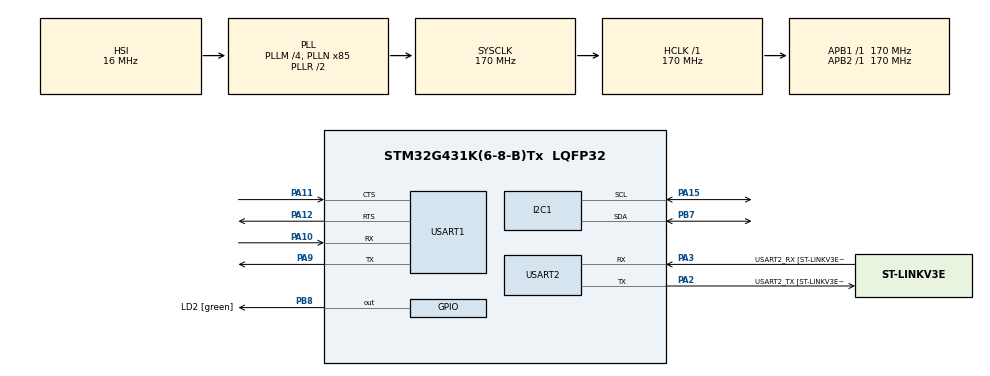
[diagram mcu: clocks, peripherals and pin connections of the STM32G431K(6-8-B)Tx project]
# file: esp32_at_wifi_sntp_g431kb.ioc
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Dma.Request0=USART1_TX
Dma.Request1=USART1_RX
Dma.Request2=USART2_TX
Dma.USART1_RX.1.Direction=DMA_PERIPH_TO_MEMORY
Dma.USART1_RX.1.EventEnable=DISABLE
Dma.USART1_RX.1.Instance=DMA1_Channel2
Dma.USART1_RX.1.MemDataAlignment=DMA_MDATAALIGN_BYTE
Dma.USART1_RX.1.MemInc=DMA_MINC_ENABLE
Dma.USART1_RX.1.Mode=DMA_NORMAL
Dma.USART1_RX.1.PeriphDataAlignment=DMA_PDATAALIGN_BYTE
Dma.USART1_RX.1.PeriphInc=DMA_PINC_DISABLE
Dma.USART1_RX.1.Polarity=HAL_DMAMUX_REQ_GEN_RISING
Dma.USART1_RX.1.Priority=DMA_PRIORITY_HIGH
Dma.USART1_RX.1.RequestNumber=1
Dma.USART1_RX.1.SignalID=NONE
Dma.USART1_RX.1.SyncEnable=DISABLE
Dma.USART1_RX.1.SyncPolarity=HAL_DMAMUX_SYNC_NO_EVENT
Dma.USART1_RX.1.SyncRequestNumber=1
Dma.USART1_RX.1.SyncSignalID=NONE
Dma.USART1_TX.0.Direction=DMA_MEMORY_TO_PERIPH
Dma.USART1_TX.0.EventEnable=DISABLE
Dma.USART1_TX.0.Instance=DMA1_Channel1
Dma.USART1_TX.0.MemDataAlignment=DMA_MDATAALIGN_BYTE
Dma.USART1_TX.0.MemInc=DMA_MINC_ENABLE
Dma.USART1_TX.0.Mode=DMA_NORMAL
Dma.USART1_TX.0.PeriphDataAlignment=DMA_PDATAALIGN_BYTE
Dma.USART1_TX.0.PeriphInc=DMA_PINC_DISABLE
Dma.USART1_TX.0.Polarity=HAL_DMAMUX_REQ_GEN_RISING
Dma.USART1_TX.0.Priority=DMA_PRIORITY_HIGH
Dma.USART1_TX.0.RequestNumber=1
Dma.USART1_TX.0.SignalID=NONE
Dma.USART1_TX.0.SyncEnable=DISABLE
Dma.USART1_TX.0.SyncPolarity=HAL_DMAMUX_SYNC_NO_EVENT
Dma.USART1_TX.0.SyncRequestNumber=1
Dma.USART1_TX.0.SyncSignalID=NONE
Dma.USART2_TX.2.Direction=DMA_MEMORY_TO_PERIPH
Dma.USART2_TX.2.EventEnable=DISABLE
Dma.USART2_TX.2.Instance=DMA1_Channel3
Dma.USART2_TX.2.MemDataAlignment=DMA_MDATAALIGN_BYTE
Dma.USART2_TX.2.MemInc=DMA_MINC_ENABLE
Dma.USART2_TX.2.Mode=DMA_NORMAL
Dma.USART2_TX.2.PeriphDataAlignment=DMA_PDATAALIGN_BYTE
Dma.USART2_TX.2.PeriphInc=DMA_PINC_DISABLE
Dma.USART2_TX.2.Polarity=HAL_DMAMUX_REQ_GEN_RISING
Dma.USART2_TX.2.Priority=DMA_PRIORITY_LOW
Dma.USART2_TX.2.RequestNumber=1
Dma.USART2_TX.2.SignalID=NONE
Dma.USART2_TX.2.SyncEnable=DISABLE
Dma.USART2_TX.2.SyncPolarity=HAL_DMAMUX_SYNC_NO_EVENT
Dma.USART2_TX.2.SyncRequestNumber=1
Dma.USART2_TX.2.SyncSignalID=NONE
I2C1.Timing=0x40B285C2
Mcu.Family=STM32G4
Mcu.Name=STM32G431K(6-8-B)Tx
Mcu.Package=LQFP32
NVIC.DMA1_Channel1_IRQn=true\:0\:0\:false\:false\:true\:false\:true\:true
NVIC.DMA1_Channel2_IRQn=true\:0\:0\:false\:false\:true\:false\:true\:true
NVIC.DMA1_Channel3_IRQn=true\:0\:0\:false\:false\:true\:false\:true\:true
NVIC.PriorityGroup=NVIC_PRIORITYGROUP_4
NVIC.TIM1_TRG_COM_TIM17_IRQn=true\:0\:0\:false\:false\:true\:true\:true\:true
NVIC.USART1_IRQn=true\:0\:0\:false\:false\:true\:true\:true\:true
NVIC.USART2_IRQn=true\:0\:0\:false\:false\:true\:true\:true\:true
PA10.GPIO_PuPd=GPIO_PULLUP
PA10.Mode=Asynchronous
PA10.Signal=USART1_RX
PA11.GPIO_PuPd=GPIO_PULLUP
PA11.Mode=CTS_RTS
PA11.Signal=USART1_CTS
PA12.GPIO_PuPd=GPIO_PULLUP
PA12.Mode=CTS_RTS
PA12.Signal=USART1_RTS
PA13.GPIO_Label=T_SWDIO
PA13.Mode=Serial_Wire
PA13.Signal=SYS_JTMS-SWDIO
PA14.GPIO_Label=T_SWCLK
PA14.Mode=Serial_Wire
PA14.Signal=SYS_JTCK-SWCLK
PA15.Mode=I2C
PA15.Signal=I2C1_SCL
PA2.GPIO_Label=USART2_TX [ST-LINKV3E_VCP_RX]
PA2.Mode=Asynchronous
PA2.Signal=USART2_TX
PA3.GPIO_Label=USART2_RX [ST-LINKV3E_VCP_TX]
PA3.Mode=Asynchronous
PA3.Signal=USART2_RX
PA9.GPIO_PuPd=GPIO_PULLUP
PA9.Mode=Asynchronous
PA9.Signal=USART1_TX
PB3.GPIO_Label=T_SWO
PB3.Signal=SYS_JTDO-SWO
PB7.Mode=I2C
PB7.Signal=I2C1_SDA
PB8-BOOT0.GPIO_Label=LD2 [green]
PB8-BOOT0.Signal=GPIO_Output
ProjectManager.HeapSize=0x200
ProjectManager.StackSize=0x400
ProjectManager.TargetToolchain=STM32CubeIDE
RCC.ADC12Freq_Value=170000000
RCC.AHBFreq_Value=170000000
RCC.APB1Freq_Value=170000000
RCC.APB1TimFreq_Value=170000000
RCC.APB2Freq_Value=170000000
RCC.APB2TimFreq_Value=170000000
RCC.CortexFreq_Value=170000000
RCC.EXTERNAL_CLOCK_VALUE=12288000
RCC.HCLKFreq_Value=170000000
RCC.HSE_VALUE=8000000
RCC.HSI48_VALUE=48000000
RCC.HSI_VALUE=16000000
RCC.LSE_VALUE=32768
RCC.PLLM=RCC_PLLM_DIV4
RCC.PLLN=85
RCC.SYSCLKFreq_VALUE=170000000
RCC.SYSCLKSource=RCC_SYSCLKSOURCE_PLLCLK
RCC.USBFreq_Value=170000000
RCC.VCOOutputFreq_Value=340000000
TIM17.PeriodNoDither=10000-1
TIM17.Prescaler=17000-1
USART1.VirtualMode-Asynchronous=VM_ASYNC
USART2.VirtualMode-Asynchronous=VM_ASYNC
USART2.WordLength=WORDLENGTH_8B
VP_SYS_VS_DBSignals.Mode=DisableDeadBatterySignals
VP_TIM17_VS_ClockSourceINT.Mode=Enable_Timer
board=NUCLEO-G431KB

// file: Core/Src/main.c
/* USER CODE BEGIN Header */
/**
 ******************************************************************************
 * @file           : main.c
 * @brief          : Main program body
 ******************************************************************************
 * @attention
 *
 * Copyright (c) 2024 STMicroelectronics.
 * All rights reserved.
 *
 * This software is licensed under terms that can be found in the LICENSE file
 * in the root directory of this software component.
 * If no LICENSE file comes with this software, it is provided AS-IS.
 *
 ******************************************************************************
 */
/* USER CODE END Header */
#include "main.h"
#include "dma.h"
#include "i2c.h"
#include "tim.h"
#include "usart.h"
#include "gpio.h"

/* USER CODE BEGIN Includes */
#include <stdio.h>
#include <stdlib.h>
#include <string.h>

#include "ssd1306.h"
#include "wifi_credentials.h"
/* USER CODE END Includes */

/* USER CODE BEGIN PD */
#define ESP32_AT_UART_HANDLE &huart1
#define ESP32_AT_UART_INSTANCE USART1
#define SNTPTIME_RESPONSE_LENGTH 43

#define DEBUG_UART_HANDLE &huart2
/* USER CODE END PD */

/* USER CODE BEGIN PV */
uint8_t echo_off[] = "ATE0\r\n";
uint8_t init_wifi[] = "AT+CWINIT=1\r\n";
uint8_t wifi_mode[] = "AT+CWMODE=1\r\n";
uint8_t wifi_no_autoconnect[] = "AT+CWAUTOCONN=0\r\n";
uint8_t wifi_connect[] = WIFI_CREDENTIALS; // "AT+CWJAP=\"your_ssid\",\"your_password\"\r\n"
uint8_t ntp_pool[] = "AT+CIPSNTPCFG=1,2,\"pl.pool.ntp.org\"\r\n";
uint8_t query_time[] = "AT+CIPSNTPTIME?\r\n";

extern DMA_HandleTypeDef hdma_usart1_rx;
uint8_t rx_time[SNTPTIME_RESPONSE_LENGTH];
uint8_t esp32c6at_data_received_flag = 0;

uint8_t query_time_elapsed_flag = 0;

char lcd_line[32];
/* USER CODE END PV */

void SystemClock_Config(void);

int main(void)
{

  /* MCU Configuration--------------------------------------------------------*/

  /* Reset of all peripherals, Initializes the Flash interface and the Systick. */
  HAL_Init();

  /* Configure the system clock */
  SystemClock_Config();

  /* Initialize all configured peripherals */
  MX_GPIO_Init();
  MX_DMA_Init();
  MX_USART2_UART_Init();
  MX_I2C1_Init();
  MX_USART1_UART_Init();
  MX_TIM17_Init();
  /* USER CODE BEGIN 2 */
	ssd1306_Init();
	ssd1306_Fill(Black);
	ssd1306_SetCursor(22, 2);
	ssd1306_WriteString("ufnalski.edu.pl", Font_6x8, White);
	ssd1306_SetCursor(10, 12);
	ssd1306_WriteString("ESP32C6-AT + STM32", Font_6x8, White);
	ssd1306_SetCursor(2, 22);
	ssd1306_WriteString("---- Inspired by ----", Font_6x8, White);
	ssd1306_SetCursor(2, 32);
	ssd1306_WriteString("---- msalamon.pl ----", Font_6x8, White);
	ssd1306_SetCursor(7, 43);
	ssd1306_WriteString("SNTP clock (Poland)", Font_6x8, White);

	ssd1306_UpdateScreen();

	HAL_UART_Transmit(ESP32_AT_UART_HANDLE, echo_off, sizeof(echo_off) - 1,
			100);
	HAL_UART_Transmit_DMA(DEBUG_UART_HANDLE, echo_off, sizeof(echo_off) - 1);
	HAL_Delay(100);

	HAL_UART_Transmit(ESP32_AT_UART_HANDLE, init_wifi, sizeof(init_wifi) - 1,
			100);
	HAL_UART_Transmit_DMA(DEBUG_UART_HANDLE, init_wifi, sizeof(init_wifi) - 1);
	HAL_Delay(500);

	HAL_UART_Transmit(ESP32_AT_UART_HANDLE, wifi_mode, sizeof(wifi_mode) - 1,
			100);
	HAL_UART_Transmit_DMA(DEBUG_UART_HANDLE, wifi_mode, sizeof(wifi_mode) - 1);
	HAL_Delay(500);

	HAL_UART_Transmit(ESP32_AT_UART_HANDLE, wifi_no_autoconnect,
			sizeof(wifi_no_autoconnect) - 1, 100);
	HAL_UART_Transmit_DMA(DEBUG_UART_HANDLE, wifi_no_autoconnect,
			sizeof(wifi_no_autoconnect) - 1);
	HAL_Delay(500);

	HAL_UART_Transmit(ESP32_AT_UART_HANDLE, wifi_connect,
			sizeof(wifi_connect) - 1, 100);
	HAL_UART_Transmit_DMA(DEBUG_UART_HANDLE, wifi_connect,
			sizeof(wifi_connect) - 1);
	HAL_Delay(3000);

	HAL_UART_Transmit(ESP32_AT_UART_HANDLE, ntp_pool, sizeof(ntp_pool) - 1,
			100);
	HAL_UART_Transmit_DMA(DEBUG_UART_HANDLE, ntp_pool, sizeof(ntp_pool) - 1);
	HAL_Delay(500);

	HAL_UART_Receive_DMA(ESP32_AT_UART_HANDLE, rx_time,
	SNTPTIME_RESPONSE_LENGTH);
	__HAL_DMA_DISABLE_IT(&hdma_usart1_rx, DMA_IT_HT);
	HAL_UART_Transmit_DMA(ESP32_AT_UART_HANDLE, query_time,
			sizeof(query_time) - 1);
	HAL_UART_Transmit_DMA(DEBUG_UART_HANDLE, query_time,
			sizeof(query_time) - 1);

	HAL_TIM_Base_Start_IT(&htim17);
  /* USER CODE END 2 */

  /* Infinite loop */
  /* USER CODE BEGIN WHILE */
	while (1)
	{

		if (query_time_elapsed_flag == 1)
		{
			query_time_elapsed_flag = 0;

			if (esp32c6at_data_received_flag == 1)
			{
				esp32c6at_data_received_flag = 0;

				memcpy(lcd_line, &rx_time[25], 8);
				lcd_line[8] = '\0';
				ssd1306_SetCursor(40, 53);
				ssd1306_WriteString(lcd_line, Font_6x8, White);

				ssd1306_UpdateScreen();

				HAL_UART_Receive_DMA(ESP32_AT_UART_HANDLE, rx_time,
				SNTPTIME_RESPONSE_LENGTH);
				__HAL_DMA_DISABLE_IT(&hdma_usart1_rx, DMA_IT_HT);
				HAL_UART_Transmit_DMA(ESP32_AT_UART_HANDLE, query_time,
						sizeof(query_time) - 1);
				HAL_UART_Transmit_DMA(DEBUG_UART_HANDLE, query_time,
										sizeof(query_time) - 1);
			}

		}
    /* USER CODE END WHILE */

	}
}

void SystemClock_Config(void)
{
  RCC_OscInitTypeDef RCC_OscInitStruct = {0};
  RCC_ClkInitTypeDef RCC_ClkInitStruct = {0};

  /** Configure the main internal regulator output voltage
  */
  HAL_PWREx_ControlVoltageScaling(PWR_REGULATOR_VOLTAGE_SCALE1_BOOST);

  /** Initializes the RCC Oscillators according to the specified parameters
  * in the RCC_OscInitTypeDef structure.
  */
  RCC_OscInitStruct.OscillatorType = RCC_OSCILLATORTYPE_HSI;
  RCC_OscInitStruct.HSIState = RCC_HSI_ON;
  RCC_OscInitStruct.HSICalibrationValue = RCC_HSICALIBRATION_DEFAULT;
  RCC_OscInitStruct.PLL.PLLState = RCC_PLL_ON;
  RCC_OscInitStruct.PLL.PLLSource = RCC_PLLSOURCE_HSI;
  RCC_OscInitStruct.PLL.PLLM = RCC_PLLM_DIV4;
  RCC_OscInitStruct.PLL.PLLN = 85;
  RCC_OscInitStruct.PLL.PLLP = RCC_PLLP_DIV2;
  RCC_OscInitStruct.PLL.PLLQ = RCC_PLLQ_DIV2;
  RCC_OscInitStruct.PLL.PLLR = RCC_PLLR_DIV2;
  if (HAL_RCC_OscConfig(&RCC_OscInitStruct) != HAL_OK)
  {
    Error_Handler();
  }

  /** Initializes the CPU, AHB and APB buses clocks
  */
  RCC_ClkInitStruct.ClockType = RCC_CLOCKTYPE_HCLK|RCC_CLOCKTYPE_SYSCLK
                              |RCC_CLOCKTYPE_PCLK1|RCC_CLOCKTYPE_PCLK2;
  RCC_ClkInitStruct.SYSCLKSource = RCC_SYSCLKSOURCE_PLLCLK;
  RCC_ClkInitStruct.AHBCLKDivider = RCC_SYSCLK_DIV1;
  RCC_ClkInitStruct.APB1CLKDivider = RCC_HCLK_DIV1;
  RCC_ClkInitStruct.APB2CLKDivider = RCC_HCLK_DIV1;

  if (HAL_RCC_ClockConfig(&RCC_ClkInitStruct, FLASH_LATENCY_4) != HAL_OK)
  {
    Error_Handler();
  }
}

/* USER CODE BEGIN 4 */
void HAL_UART_RxCpltCallback(UART_HandleTypeDef *huart)
{
	if (huart->Instance == ESP32_AT_UART_INSTANCE)
	{
		esp32c6at_data_received_flag = 1;
		HAL_UART_Transmit_DMA(DEBUG_UART_HANDLE, rx_time,
				SNTPTIME_RESPONSE_LENGTH);
	}
}

void HAL_TIM_PeriodElapsedCallback(TIM_HandleTypeDef *htim)
{
	if (htim->Instance == TIM17) // every 1 second
	{
		query_time_elapsed_flag = 1;
	}
}

/* USER CODE END 4 */

void Error_Handler(void)
{
	__disable_irq();
	while (1)
	{
	}
}
